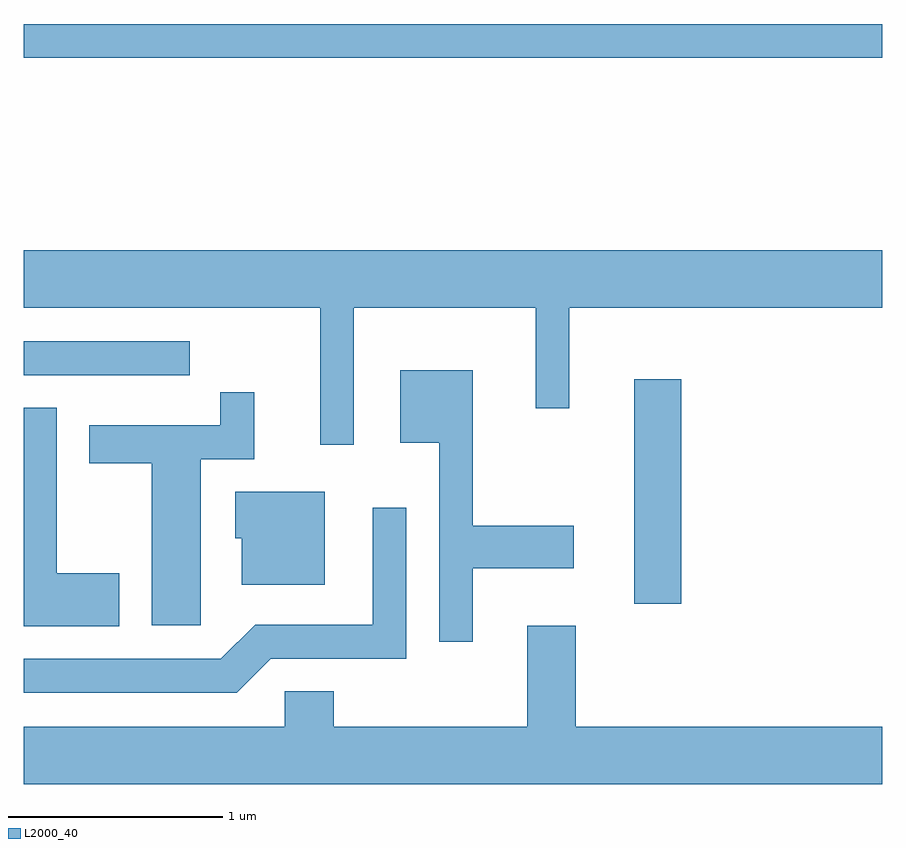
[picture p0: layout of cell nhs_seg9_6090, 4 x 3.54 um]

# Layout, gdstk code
import gdstk
lib = gdstk.Library(unit=1e-6, precision=1e-09)
def R(c, l, rs):  # rectangles x0, y0, x1, y1
    for r in rs: c.add(gdstk.rectangle(r[:2], r[2:], *l))
def P(c, l, *ps):  # polygons
    for p in ps: c.add(gdstk.Polygon(p, *l))
L2000_40 = (2000, 40)

nhs_seg9_6090 = lib.new_cell('nhs_seg9_6090')
R(nhs_seg9_6090, L2000_40, [(368.456,1959.356,368.674,1960.404), (365.611,1960.421,366.383,1960.579), (365.611,1961.901,369.611,1962.059)])
P(nhs_seg9_6090, L2000_40, [(367.149,1960.736),(367.996,1960.736),(367.996,1960.268),(368.154,1960.268),(368.154,1960.736),(369.611,1960.736),(369.611,1961.004),(365.611,1961.004),(365.611,1960.736),(366.991,1960.736),(366.991,1960.098),(367.149,1960.098)],
  [(367.704,1959.521),(368.174,1959.521),(368.174,1959.719),(367.704,1959.719),(367.704,1960.444),(367.366,1960.444),(367.366,1960.106),(367.546,1960.106),(367.546,1959.178),(367.704,1959.178)],
  [(366.434,1960.031),(366.684,1960.031),(366.684,1960.343),(366.526,1960.343),(366.526,1960.189),(365.916,1960.189),(365.916,1960.011),(366.206,1960.011),(366.206,1959.256),(366.434,1959.256)],
  [(366.054,1959.499),(365.764,1959.499),(365.764,1960.269),(365.611,1960.269),(365.611,1959.251),(366.054,1959.251)],
  [(367.014,1959.879),(366.596,1959.879),(366.596,1959.661),(366.626,1959.661),(366.626,1959.446),(367.014,1959.446)],
  [(366.762,1959.101),(367.394,1959.101),(367.394,1959.803),(367.236,1959.803),(367.236,1959.259),(366.689,1959.259),(366.529,1959.099),(365.611,1959.099),(365.611,1958.941),(366.602,1958.941)],
  [(369.611,1958.784),(368.184,1958.784),(368.184,1959.254),(367.956,1959.254),(367.956,1958.784),(367.054,1958.784),(367.054,1958.949),(366.826,1958.949),(366.826,1958.784),(365.611,1958.784),(365.611,1958.516),(369.611,1958.516)])

lib.write_gds('nhs_seg9_6090.gds')
